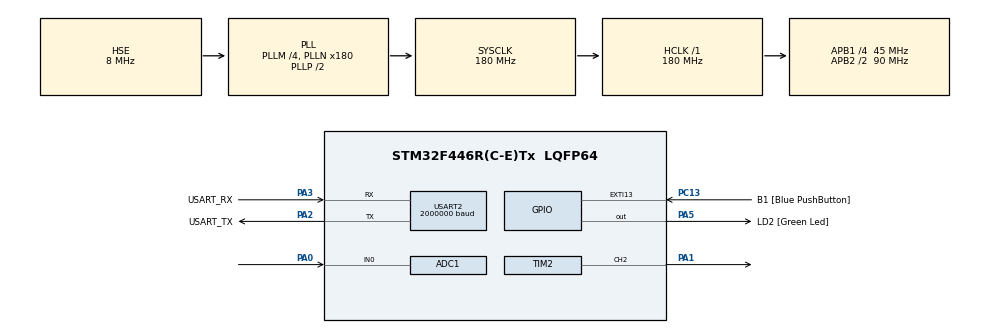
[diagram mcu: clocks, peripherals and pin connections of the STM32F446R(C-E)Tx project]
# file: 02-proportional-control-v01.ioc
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ADC1.Channel-0\#ChannelRegularConversion=ADC_CHANNEL_0
ADC1.ClockPrescaler=ADC_CLOCK_SYNC_PCLK_DIV8
ADC1.ContinuousConvMode=ENABLE
ADC1.NbrOfConversionFlag=1
ADC1.Rank-0\#ChannelRegularConversion=1
ADC1.SamplingTime-0\#ChannelRegularConversion=ADC_SAMPLETIME_3CYCLES
ADC1.master=1
Dma.Request0=USART2_RX
Dma.Request1=USART2_TX
Dma.USART2_RX.0.Direction=DMA_PERIPH_TO_MEMORY
Dma.USART2_RX.0.FIFOMode=DMA_FIFOMODE_DISABLE
Dma.USART2_RX.0.Instance=DMA1_Stream5
Dma.USART2_RX.0.MemDataAlignment=DMA_MDATAALIGN_BYTE
Dma.USART2_RX.0.MemInc=DMA_MINC_ENABLE
Dma.USART2_RX.0.Mode=DMA_NORMAL
Dma.USART2_RX.0.PeriphDataAlignment=DMA_PDATAALIGN_BYTE
Dma.USART2_RX.0.PeriphInc=DMA_PINC_DISABLE
Dma.USART2_RX.0.Priority=DMA_PRIORITY_LOW
Dma.USART2_TX.1.Direction=DMA_MEMORY_TO_PERIPH
Dma.USART2_TX.1.FIFOMode=DMA_FIFOMODE_DISABLE
Dma.USART2_TX.1.Instance=DMA1_Stream6
Dma.USART2_TX.1.MemDataAlignment=DMA_MDATAALIGN_BYTE
Dma.USART2_TX.1.MemInc=DMA_MINC_ENABLE
Dma.USART2_TX.1.Mode=DMA_NORMAL
Dma.USART2_TX.1.PeriphDataAlignment=DMA_PDATAALIGN_BYTE
Dma.USART2_TX.1.PeriphInc=DMA_PINC_DISABLE
Dma.USART2_TX.1.Priority=DMA_PRIORITY_LOW
FREERTOS.Tasks01=defaultTask,0,128,StartDefaultTask,Default,NULL,Dynamic,NULL,NULL
Mcu.Family=STM32F4
Mcu.Name=STM32F446R(C-E)Tx
Mcu.Package=LQFP64
NVIC.DMA1_Stream5_IRQn=true\:5\:0\:false\:false\:true\:true\:false\:true\:true
NVIC.DMA1_Stream6_IRQn=true\:5\:0\:false\:false\:true\:true\:false\:true\:true
NVIC.PriorityGroup=NVIC_PRIORITYGROUP_4
NVIC.TIM7_IRQn=true\:15\:0\:false\:false\:true\:false\:false\:true\:true
NVIC.TimeBase=TIM7_IRQn
NVIC.TimeBaseIP=TIM7
NVIC.USART2_IRQn=true\:5\:0\:false\:false\:true\:true\:true\:true\:true
PA0-WKUP.Signal=ADCx_IN0
PA1.Signal=S_TIM2_CH2
PA13.GPIO_Label=TMS
PA13.Mode=Serial_Wire
PA13.Signal=SYS_JTMS-SWDIO
PA14.GPIO_Label=TCK
PA14.Mode=Serial_Wire
PA14.Signal=SYS_JTCK-SWCLK
PA2.GPIO_Label=USART_TX
PA2.Mode=Asynchronous
PA2.Signal=USART2_TX
PA3.GPIO_Label=USART_RX
PA3.Mode=Asynchronous
PA3.Signal=USART2_RX
PA5.GPIO_Label=LD2 [Green Led]
PA5.Signal=GPIO_Output
PB3.GPIO_Label=SWO
PB3.Signal=SYS_JTDO-SWO
PC13.GPIO_Label=B1 [Blue PushButton]
PC13.GPIO_ModeDefaultEXTI=GPIO_MODE_IT_FALLING
PC13.Signal=GPXTI13
PC14-OSC32_IN.Signal=RCC_OSC32_IN
PC15-OSC32_OUT.Signal=RCC_OSC32_OUT
PH0-OSC_IN.Mode=HSE-External-Oscillator
PH0-OSC_IN.Signal=RCC_OSC_IN
PH1-OSC_OUT.Mode=HSE-External-Oscillator
PH1-OSC_OUT.Signal=RCC_OSC_OUT
ProjectManager.HeapSize=0x200
ProjectManager.StackSize=0x400
ProjectManager.TargetToolchain=STM32CubeIDE
RCC.AHBFreq_Value=180000000
RCC.APB1CLKDivider=RCC_HCLK_DIV4
RCC.APB1Freq_Value=45000000
RCC.APB1TimFreq_Value=90000000
RCC.APB2CLKDivider=RCC_HCLK_DIV2
RCC.APB2Freq_Value=90000000
RCC.APB2TimFreq_Value=180000000
RCC.CortexFreq_Value=180000000
RCC.FLatency-AdvancedSettings=FLASH_LATENCY_5
RCC.HCLKFreq_Value=180000000
RCC.HSE_VALUE=8000000
RCC.HSI_VALUE=16000000
RCC.LSE_VALUE=32768
RCC.PLLM=4
RCC.PLLN=180
RCC.PLLSourceVirtual=RCC_PLLSOURCE_HSE
RCC.SYSCLKFreq_VALUE=180000000
RCC.SYSCLKSource=RCC_SYSCLKSOURCE_PLLCLK
RCC.USBFreq_Value=180000000
RCC.VCOOutputFreq_Value=360000000
SH.ADCx_IN0.0=ADC1_IN0,IN0
SH.S_TIM2_CH2.0=TIM2_CH2,PWM Generation2 CH2
TIM2.Channel-PWM\ Generation2\ CH2=TIM_CHANNEL_2
TIM2.Period=100-1
TIM2.Prescaler=90-1
TIM2.Pulse-PWM\ Generation2\ CH2=50
USART2.BaudRate=2000000
USART2.VirtualMode=VM_ASYNC
VP_FREERTOS_VS_CMSIS_V1.Mode=CMSIS_V1
VP_SYS_VS_tim7.Mode=TIM7
board=NUCLEO-F446RE

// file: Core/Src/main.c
/* USER CODE BEGIN Header */
/**
  ******************************************************************************
  * @file           : main.c
  * @brief          : Main program body
  ******************************************************************************
  * @attention
  *
  * Copyright (c) 2025 STMicroelectronics.
  * All rights reserved.
  *
  * This software is licensed under terms that can be found in the LICENSE file
  * in the root directory of this software component.
  * If no LICENSE file comes with this software, it is provided AS-IS.
  *
  ******************************************************************************
  */
/* USER CODE END Header */
#include "main.h"
#include "cmsis_os.h"

/* USER CODE BEGIN Includes */
#include "uart_driver.h"
#include <string.h>
#include "sample_commands.h"
#include "command_module.h"
#include "logging.h"
#include "photocell.h"
#include "pwm.h"

/* USER CODE END Includes */

/* USER CODE BEGIN PD */
static uart_drv_t uart2_drv;
uart_drv_t *shared_uart = NULL;
static SemaphoreHandle_t rx_done_sem;
PwmChannel_t pwm;
photoCell_t sensor;
// PID control parameters and state
volatile bool pid_enabled = false;
float pid_kp = 1.0f;
// PID setpoint: Target value for the PID controller in units of lumens (expected range: 0.0f to 100.0f).
#define PID_SETPOINT 60.0f
float pid_setpoint = PID_SETPOINT;
/* USER CODE END PD */

ADC_HandleTypeDef hadc1;

TIM_HandleTypeDef htim2;

UART_HandleTypeDef huart2;
DMA_HandleTypeDef hdma_usart2_rx;
DMA_HandleTypeDef hdma_usart2_tx;

//osThreadId defaultTaskHandle;

void SystemClock_Config(void);
static void MX_GPIO_Init(void);
static void MX_DMA_Init(void);
static void MX_USART2_UART_Init(void);
static void MX_ADC1_Init(void);
static void MX_TIM2_Init(void);
//void StartDefaultTask(void const * argument);

/* USER CODE BEGIN PFP */
static void PhotoCellTask(void *arg);

/* USER CODE END PFP */

int main(void)
{

  /* MCU Configuration--------------------------------------------------------*/

  /* Reset of all peripherals, Initializes the Flash interface and the Systick. */
  HAL_Init();

  /* Configure the system clock */
  SystemClock_Config();

  /* Initialize all configured peripherals */
  MX_GPIO_Init();
  MX_DMA_Init();
  MX_USART2_UART_Init();
  MX_ADC1_Init();
  MX_TIM2_Init();
  /* USER CODE BEGIN 2 */
  rx_done_sem = xSemaphoreCreateBinary();
  if (uart_init(&uart2_drv, &huart2, &hdma_usart2_tx, &hdma_usart2_rx) != UART_OK) {
        Error_Handler();
  }
  shared_uart = &uart2_drv;
  cmd_init(&uart2_drv);
  log_init(&uart2_drv);

  Pwm_init(&pwm, &htim2, TIM_CHANNEL_2);
  Pwm_start(&pwm);

  /* USER CODE END 2 */

  /* Create the thread(s) */
  /* definition and creation of defaultTask */
//  osThreadDef(defaultTask, StartDefaultTask, osPriorityNormal, 0, 128);
//  defaultTaskHandle = osThreadCreate(osThread(defaultTask), NULL);

  /* USER CODE BEGIN RTOS_THREADS */
  /* add threads, ... */

  xTaskCreate(PhotoCellTask, "photo", 256, NULL, tskIDLE_PRIORITY + 1, NULL);

  vTaskStartScheduler();
  /* USER CODE END RTOS_THREADS */

  /* Start scheduler */
//  osKernelStart();

  /* We should never get here as control is now taken by the scheduler */

  /* Infinite loop */
  while (1)
  {
	  HAL_Delay(100);
  }
}

void SystemClock_Config(void)
{
  RCC_OscInitTypeDef RCC_OscInitStruct = {0};
  RCC_ClkInitTypeDef RCC_ClkInitStruct = {0};

  /** Configure the main internal regulator output voltage
  */
  __HAL_RCC_PWR_CLK_ENABLE();
  __HAL_PWR_VOLTAGESCALING_CONFIG(PWR_REGULATOR_VOLTAGE_SCALE1);

  /** Initializes the RCC Oscillators according to the specified parameters
  * in the RCC_OscInitTypeDef structure.
  */
  RCC_OscInitStruct.OscillatorType = RCC_OSCILLATORTYPE_HSE;
  RCC_OscInitStruct.HSEState = RCC_HSE_ON;
  RCC_OscInitStruct.PLL.PLLState = RCC_PLL_ON;
  RCC_OscInitStruct.PLL.PLLSource = RCC_PLLSOURCE_HSE;
  RCC_OscInitStruct.PLL.PLLM = 4;
  RCC_OscInitStruct.PLL.PLLN = 180;
  RCC_OscInitStruct.PLL.PLLP = RCC_PLLP_DIV2;
  RCC_OscInitStruct.PLL.PLLQ = 2;
  RCC_OscInitStruct.PLL.PLLR = 2;
  if (HAL_RCC_OscConfig(&RCC_OscInitStruct) != HAL_OK)
  {
    Error_Handler();
  }

  /** Activate the Over-Drive mode
  */
  if (HAL_PWREx_EnableOverDrive() != HAL_OK)
  {
    Error_Handler();
  }

  /** Initializes the CPU, AHB and APB buses clocks
  */
  RCC_ClkInitStruct.ClockType = RCC_CLOCKTYPE_HCLK|RCC_CLOCKTYPE_SYSCLK
                              |RCC_CLOCKTYPE_PCLK1|RCC_CLOCKTYPE_PCLK2;
  RCC_ClkInitStruct.SYSCLKSource = RCC_SYSCLKSOURCE_PLLCLK;
  RCC_ClkInitStruct.AHBCLKDivider = RCC_SYSCLK_DIV1;
  RCC_ClkInitStruct.APB1CLKDivider = RCC_HCLK_DIV4;
  RCC_ClkInitStruct.APB2CLKDivider = RCC_HCLK_DIV2;

  if (HAL_RCC_ClockConfig(&RCC_ClkInitStruct, FLASH_LATENCY_5) != HAL_OK)
  {
    Error_Handler();
  }
}

static void MX_ADC1_Init(void)
{

  ADC_ChannelConfTypeDef sConfig = {0};

  /** Configure the global features of the ADC (Clock, Resolution, Data Alignment and number of conversion)
  */
  hadc1.Instance = ADC1;
  hadc1.Init.ClockPrescaler = ADC_CLOCK_SYNC_PCLK_DIV8;
  hadc1.Init.Resolution = ADC_RESOLUTION_12B;
  hadc1.Init.ScanConvMode = DISABLE;
  hadc1.Init.ContinuousConvMode = ENABLE;
  hadc1.Init.DiscontinuousConvMode = DISABLE;
  hadc1.Init.ExternalTrigConvEdge = ADC_EXTERNALTRIGCONVEDGE_NONE;
  hadc1.Init.ExternalTrigConv = ADC_SOFTWARE_START;
  hadc1.Init.DataAlign = ADC_DATAALIGN_RIGHT;
  hadc1.Init.NbrOfConversion = 1;
  hadc1.Init.DMAContinuousRequests = DISABLE;
  hadc1.Init.EOCSelection = ADC_EOC_SINGLE_CONV;
  if (HAL_ADC_Init(&hadc1) != HAL_OK)
  {
    Error_Handler();
  }

  /** Configure for the selected ADC regular channel its corresponding rank in the sequencer and its sample time.
  */
  sConfig.Channel = ADC_CHANNEL_0;
  sConfig.Rank = 1;
  sConfig.SamplingTime = ADC_SAMPLETIME_3CYCLES;
  if (HAL_ADC_ConfigChannel(&hadc1, &sConfig) != HAL_OK)
  {
    Error_Handler();
  }

}

static void MX_TIM2_Init(void)
{

  TIM_MasterConfigTypeDef sMasterConfig = {0};
  TIM_OC_InitTypeDef sConfigOC = {0};

  htim2.Instance = TIM2;
  htim2.Init.Prescaler = 90-1;
  htim2.Init.CounterMode = TIM_COUNTERMODE_UP;
  htim2.Init.Period = 100-1;
  htim2.Init.ClockDivision = TIM_CLOCKDIVISION_DIV1;
  htim2.Init.AutoReloadPreload = TIM_AUTORELOAD_PRELOAD_DISABLE;
  if (HAL_TIM_PWM_Init(&htim2) != HAL_OK)
  {
    Error_Handler();
  }
  sMasterConfig.MasterOutputTrigger = TIM_TRGO_RESET;
  sMasterConfig.MasterSlaveMode = TIM_MASTERSLAVEMODE_DISABLE;
  if (HAL_TIMEx_MasterConfigSynchronization(&htim2, &sMasterConfig) != HAL_OK)
  {
    Error_Handler();
  }
  sConfigOC.OCMode = TIM_OCMODE_PWM1;
  sConfigOC.Pulse = 50;
  sConfigOC.OCPolarity = TIM_OCPOLARITY_HIGH;
  sConfigOC.OCFastMode = TIM_OCFAST_DISABLE;
  if (HAL_TIM_PWM_ConfigChannel(&htim2, &sConfigOC, TIM_CHANNEL_2) != HAL_OK)
  {
    Error_Handler();
  }
  HAL_TIM_MspPostInit(&htim2);

}

static void MX_USART2_UART_Init(void)
{

  huart2.Instance = USART2;
  huart2.Init.BaudRate = 115200;
  huart2.Init.WordLength = UART_WORDLENGTH_8B;
  huart2.Init.StopBits = UART_STOPBITS_1;
  huart2.Init.Parity = UART_PARITY_NONE;
  huart2.Init.Mode = UART_MODE_TX_RX;
  huart2.Init.HwFlowCtl = UART_HWCONTROL_NONE;
  huart2.Init.OverSampling = UART_OVERSAMPLING_16;
  if (HAL_UART_Init(&huart2) != HAL_OK)
  {
    Error_Handler();
  }

}

static void MX_DMA_Init(void)
{

  /* DMA controller clock enable */
  __HAL_RCC_DMA1_CLK_ENABLE();

  /* DMA interrupt init */
  /* DMA1_Stream5_IRQn interrupt configuration */
  HAL_NVIC_SetPriority(DMA1_Stream5_IRQn, 5, 0);
  HAL_NVIC_EnableIRQ(DMA1_Stream5_IRQn);
  /* DMA1_Stream6_IRQn interrupt configuration */
  HAL_NVIC_SetPriority(DMA1_Stream6_IRQn, 5, 0);
  HAL_NVIC_EnableIRQ(DMA1_Stream6_IRQn);

}

static void MX_GPIO_Init(void)
{
  GPIO_InitTypeDef GPIO_InitStruct = {0};

  /* GPIO Ports Clock Enable */
  __HAL_RCC_GPIOC_CLK_ENABLE();
  __HAL_RCC_GPIOH_CLK_ENABLE();
  __HAL_RCC_GPIOA_CLK_ENABLE();
  __HAL_RCC_GPIOB_CLK_ENABLE();

  /*Configure GPIO pin Output Level */
  HAL_GPIO_WritePin(LD2_GPIO_Port, LD2_Pin, GPIO_PIN_RESET);

  /*Configure GPIO pin : B1_Pin */
  GPIO_InitStruct.Pin = B1_Pin;
  GPIO_InitStruct.Mode = GPIO_MODE_IT_FALLING;
  GPIO_InitStruct.Pull = GPIO_NOPULL;
  HAL_GPIO_Init(B1_GPIO_Port, &GPIO_InitStruct);

  /*Configure GPIO pin : LD2_Pin */
  GPIO_InitStruct.Pin = LD2_Pin;
  GPIO_InitStruct.Mode = GPIO_MODE_OUTPUT_PP;
  GPIO_InitStruct.Pull = GPIO_NOPULL;
  GPIO_InitStruct.Speed = GPIO_SPEED_FREQ_LOW;
  HAL_GPIO_Init(LD2_GPIO_Port, &GPIO_InitStruct);

}

/* USER CODE BEGIN 4 */
void set_pwm_function(uint8_t brightness) {

	Pwm_setDuty(&pwm, (uint8_t)brightness);
}

static void PhotoCellTask(void *arg) {

    TelemetryPacket pkt = {0};
    photoCell_init(&sensor, true, 0, 4095);
    photoCell_autoCalibrate(&sensor, &hadc1, set_pwm_function);

    for (;;) {
        uint8_t level = readSensor(&sensor, &hadc1);
        float error = pid_setpoint - level;
        float duty  = pid_kp * error;

        if (pid_enabled) {
            error = pid_setpoint - level;
            float duty  = pid_kp * error;
            if (duty < 0.0f) duty = 0.0f;
            if (duty > 100.0f) duty = 100.0f;
            Pwm_setDuty(&pwm, (uint8_t)duty);

            pkt.brightness = level;
            pkt.duty       = duty;

            telemetry_send(&pkt);
        } else {
            Pwm_setDuty(&pwm, 0);
        }

//        vTaskDelay(pdMS_TO_TICKS(100));
    }
}

/* USER CODE END 4 */

//void StartDefaultTask(void const * argument)
//{
//  /* USER CODE BEGIN 5 */
//  /* Infinite loop */
//  for(;;)
//  {
//    osDelay(1);
//  }
//  /* USER CODE END 5 */
//}

void HAL_TIM_PeriodElapsedCallback(TIM_HandleTypeDef *htim)
{
  if (htim->Instance == TIM7)
  {
    HAL_IncTick();
  }
}

void Error_Handler(void)
{
  __disable_irq();
  while (1)
  {
  }
}
